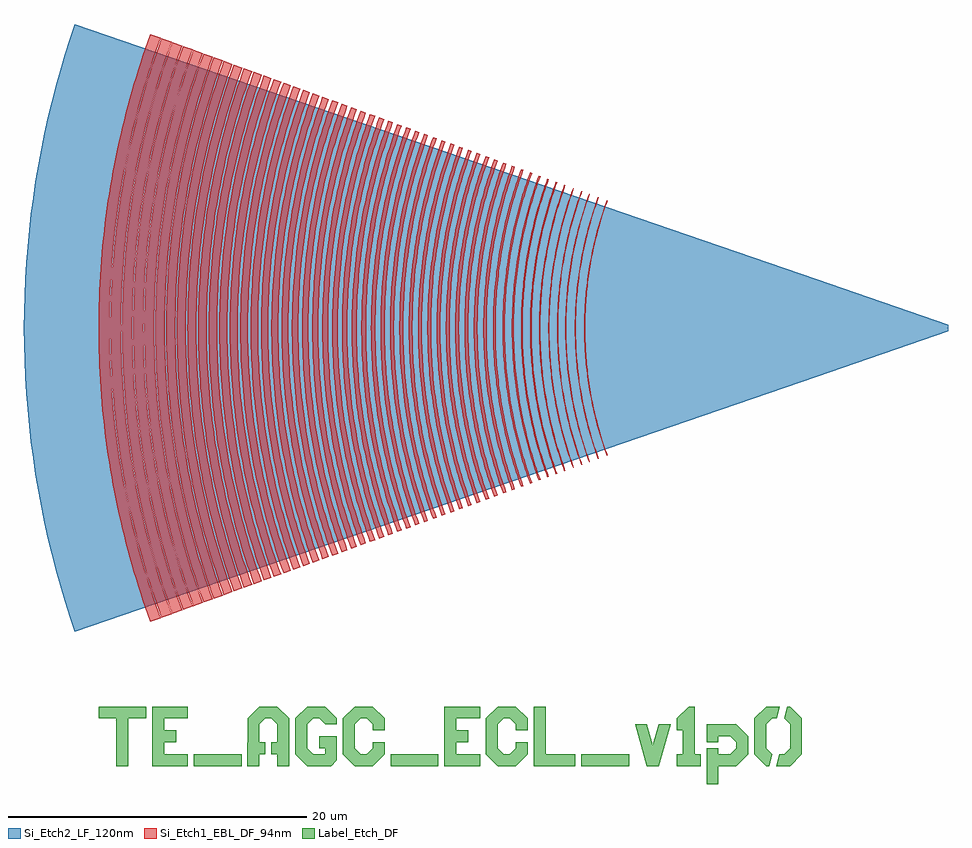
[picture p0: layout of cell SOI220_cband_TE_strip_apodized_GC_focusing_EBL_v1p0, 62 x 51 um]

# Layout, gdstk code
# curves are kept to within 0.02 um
import gdstk
lib = gdstk.Library(unit=1e-6, precision=1e-09)
def R(c, l, rs):  # rectangles x0, y0, x1, y1
    for r in rs: c.add(gdstk.rectangle(r[:2], r[2:], *l))
def P(c, l, *ps):  # polygons
    for p in ps: c.add(gdstk.Polygon(p, *l))
Si_Etch2_LF_120nm = (3, 0)
Si_Etch1_EBL_DF_94nm = (60, 0)
Label_Etch_DF = (100, 0)

text_gdsfactorypcomponen = lib.new_cell('text_gdsfactorypcomponentsptextsptext_TTE_AGC_ECL_v1p0__3f028528')
R(text_gdsfactorypcomponen, Label_Etch_DF, [(6.8,0,10,0.8), (20,0,23.2,0.8), (32.8,0,36,0.8)])
P(text_gdsfactorypcomponen, Label_Etch_DF, [(37.2,0),(36.4,2.8),(37.2,2.8),(37.6,1.4),(38,2.8),(38.8,2.8),(38,0)],
  [(41.2,-1.2),(41.2,1.2),(42,1.2),(42,0.8),(42.8,0.8),(43.2,1.2),(43.2,1.6),(42.8,2),(42,2),(42,1.6),(41.2,1.6),(41.2,2.8),(43.2,2.8),(44,2),(44,0.8),(43.2,0),(42,0),(42,-1.2)],
  [(1.6,0),(1.6,3.2),(0.4,3.2),(0.4,4),(3.6,4),(3.6,3.2),(2.4,3.2),(2.4,0)],
  [(4,0),(4,4),(6.4,4),(6.4,3.2),(4.8,3.2),(4.8,2.4),(5.6,2.4),(5.6,1.6),(4.8,1.6),(4.8,0.8),(6.4,0.8),(6.4,0)],
  [(10.396,0),(10.4,3.2),(11.2,4),(12.404,4),(13.2,3.2),(13.2,0),(12.404,0),(12.404,0.8),(12,0.8),(12,1.6),(12.404,1.6),(12.404,2.8),(12,3.2),(11.6,3.2),(11.2,2.8),(11.2,1.6),(11.6,1.6),(11.6,0.8),(11.2,0.8),(11.2,0)],
  [(14.4,0),(13.6,0.8),(13.6,3.2),(14.4,4),(15.6,4),(16.4,3.2),(16.4,2.8),(15.6,2.8),(15.2,3.2),(14.8,3.2),(14.4,2.8),(14.4,1.2),(14.8,0.8),(15.6,0.8),(15.6,1.2),(15.2,1.2),(15.2,2),(16.4,2),(16.4,0.4),(16,0)],
  [(17.6,0),(16.8,0.8),(16.8,3.2),(17.6,4),(18.8,4),(19.6,3.2),(19.6,2.4),(18.8,2.4),(18.8,2.8),(18.4,3.2),(18,3.2),(17.6,2.8),(17.6,1.2),(18,0.8),(18.4,0.8),(18.8,1.2),(18.8,1.6),(19.6,1.6),(19.6,0.8),(18.8,0)],
  [(23.6,0),(23.6,4),(26,4),(26,3.2),(24.4,3.2),(24.4,2.4),(25.2,2.4),(25.2,1.6),(24.4,1.6),(24.4,0.8),(26,0.8),(26,0)],
  [(27.2,0),(26.4,0.8),(26.4,3.2),(27.2,4),(28.4,4),(29.2,3.2),(29.2,2.4),(28.4,2.4),(28.4,2.8),(28,3.2),(27.6,3.2),(27.2,2.8),(27.2,1.2),(27.6,0.8),(28,0.8),(28.4,1.2),(28.4,1.6),(29.2,1.6),(29.2,0.8),(28.4,0)],
  [(29.6,0),(29.6,4),(30.4,4),(30.4,0.8),(32.4,0.8),(32.4,0)],
  [(39.2,0),(39.2,0.8),(39.6,0.8),(39.6,2.4),(39.2,2.4),(39.2,3.2),(40,4),(40.4,4),(40.4,0.8),(40.8,0.8),(40.8,0)],
  [(45.2,0),(44.4,0.8),(44.4,3.2),(45.2,4),(46.12,4),(45.92,3.2),(45.6,3.2),(45.2,2.8),(45.2,1.2),(45.6,0.8),(45.4,0)],
  [(45.88,0),(46.08,0.8),(46.4,0.8),(46.8,1.2),(46.8,2.8),(46.4,3.2),(46.6,4),(46.8,4),(47.6,3.2),(47.6,0.8),(46.8,0)])

soi220_cband_te_strip_ap = lib.new_cell('SOI220_cband_TE_strip_apodized_GC_focusing_EBL_v1p0')
P(soi220_cband_te_strip_ap, Si_Etch2_LF_120nm, [(-58.588,-20.398),(-59.574,-17.27),(-60.14,-15.157),(-60.85,-11.955),(-61.23,-9.801),(-61.534,-7.636),(-61.763,-5.461),(-61.963,-2.187),(-62.001,0),(-61.963,2.187),(-61.763,5.461),(-61.534,7.636),(-61.23,9.801),(-60.85,11.955),(-60.14,15.157),(-59.574,17.27),(-58.588,20.398),(0,0.225),(0,-0.225)])
P(soi220_cband_te_strip_ap, Si_Etch1_EBL_DF_94nm, [(-22.895,-8.571),(-23.042,-8.159),(-23.247,-7.536),(-23.437,-6.908),(-23.553,-6.486),(-23.813,-5.424),(-23.947,-4.781),(-24.026,-4.351),(-24.131,-3.704),(-24.221,-3.054),(-24.312,-2.184),(-24.383,-1.093),(-24.407,0),(-24.383,1.093),(-24.312,2.184),(-24.221,3.054),(-24.131,3.704),(-24.026,4.351),(-23.947,4.781),(-23.813,5.424),(-23.553,6.486),(-23.437,6.908),(-23.247,7.536),(-23.042,8.159),(-22.895,8.571),(-22.839,8.551),(-23.055,7.933),(-23.255,7.309),(-23.438,6.681),(-23.604,6.048),(-23.801,5.198),(-24.004,4.126),(-24.161,3.047),(-24.252,2.179),(-24.323,1.09),(-24.347,0),(-24.323,-1.09),(-24.252,-2.179),(-24.161,-3.047),(-24.004,-4.126),(-23.801,-5.198),(-23.604,-6.048),(-23.438,-6.681),(-23.255,-7.309),(-23.055,-7.933),(-22.839,-8.551)],
  [(-23.487,-8.786),(-23.638,-8.364),(-23.848,-7.725),(-23.98,-7.296),(-24.162,-6.65),(-24.428,-5.56),(-24.647,-4.461),(-24.817,-3.353),(-24.897,-2.685),(-24.939,-2.239),(-24.975,-1.792),(-25.013,-1.121),(-25.037,0),(-25.013,1.121),(-24.975,1.792),(-24.939,2.239),(-24.897,2.685),(-24.817,3.353),(-24.647,4.461),(-24.428,5.56),(-24.162,6.65),(-23.98,7.296),(-23.848,7.725),(-23.638,8.364),(-23.487,8.786),(-23.431,8.766),(-23.653,8.133),(-23.791,7.707),(-23.984,7.065),(-24.161,6.417),(-24.417,5.329),(-24.588,4.451),(-24.758,3.345),(-24.837,2.679),(-24.879,2.234),(-24.915,1.788),(-24.953,1.118),(-24.977,0),(-24.953,-1.118),(-24.915,-1.788),(-24.879,-2.234),(-24.837,-2.679),(-24.758,-3.345),(-24.588,-4.451),(-24.417,-5.329),(-24.161,-6.417),(-23.984,-7.065),(-23.791,-7.707),(-23.653,-8.133),(-23.431,-8.766)],
  [(-24.089,-9.005),(-24.316,-8.354),(-24.457,-7.917),(-24.592,-7.478),(-24.779,-6.814),(-24.894,-6.37),(-25.052,-5.699),(-25.148,-5.249),(-25.276,-4.572),(-25.352,-4.118),(-25.45,-3.437),(-25.507,-2.981),(-25.576,-2.294),(-25.627,-1.608),(-25.651,-1.149),(-25.667,-0.69),(-25.676,0),(-25.667,0.69),(-25.651,1.149),(-25.627,1.608),(-25.576,2.294),(-25.507,2.981),(-25.45,3.437),(-25.352,4.118),(-25.276,4.572),(-25.148,5.249),(-25.052,5.699),(-24.894,6.37),(-24.779,6.814),(-24.592,7.478),(-24.457,7.917),(-24.316,8.354),(-24.089,9.005),(-24.032,8.985),(-24.259,8.335),(-24.468,7.68),(-24.661,7.02),(-24.836,6.355),(-25.089,5.237),(-25.256,4.336),(-25.42,3.201),(-25.472,2.746),(-25.535,2.061),(-25.591,1.146),(-25.607,0.688),(-25.616,0),(-25.6,-0.917),(-25.567,-1.604),(-25.535,-2.061),(-25.495,-2.518),(-25.42,-3.201),(-25.256,-4.336),(-25.089,-5.237),(-24.836,-6.355),(-24.661,-7.02),(-24.468,-7.68),(-24.259,-8.335),(-24.032,-8.985)],
  [(-24.603,-9.192),(-24.76,-8.75),(-24.98,-8.082),(-25.118,-7.633),(-25.308,-6.956),(-25.587,-5.817),(-25.685,-5.358),(-25.816,-4.667),(-25.994,-3.508),(-26.052,-3.043),(-26.122,-2.342),(-26.159,-1.875),(-26.198,-1.173),(-26.215,-0.704),(-26.224,0),(-26.215,0.704),(-26.198,1.173),(-26.159,1.875),(-26.122,2.342),(-26.052,3.043),(-25.994,3.508),(-25.816,4.667),(-25.685,5.358),(-25.587,5.817),(-25.308,6.956),(-25.118,7.633),(-24.98,8.082),(-24.76,8.75),(-24.603,9.192),(-24.547,9.172),(-24.703,8.731),(-24.923,8.064),(-25.125,7.392),(-25.31,6.714),(-25.477,6.033),(-25.578,5.576),(-25.757,4.657),(-25.935,3.5),(-25.992,3.036),(-26.062,2.337),(-26.099,1.871),(-26.138,1.17),(-26.155,0.702),(-26.164,0),(-26.155,-0.702),(-26.138,-1.17),(-26.099,-1.871),(-26.062,-2.337),(-25.992,-3.036),(-25.935,-3.5),(-25.757,-4.657),(-25.578,-5.576),(-25.477,-6.033),(-25.31,-6.714),(-25.125,-7.392),(-24.923,-8.064),(-24.703,-8.731),(-24.547,-9.172)],
  [(-25.153,-9.392),(-25.314,-8.942),(-25.539,-8.258),(-25.68,-7.8),(-25.874,-7.108),(-25.994,-6.644),(-26.159,-5.944),(-26.306,-5.24),(-26.393,-4.768),(-26.472,-4.296),(-26.575,-3.585),(-26.634,-3.109),(-26.706,-2.393),(-26.759,-1.677),(-26.784,-1.198),(-26.801,-0.719),(-26.81,0),(-26.801,0.719),(-26.784,1.198),(-26.759,1.677),(-26.706,2.393),(-26.634,3.109),(-26.575,3.585),(-26.472,4.296),(-26.393,4.768),(-26.306,5.24),(-26.159,5.944),(-25.994,6.644),(-25.874,7.108),(-25.68,7.8),(-25.539,8.258),(-25.314,8.942),(-25.153,9.392),(-25.097,9.372),(-25.334,8.695),(-25.553,8.012),(-25.753,7.323),(-25.936,6.629),(-26.048,6.164),(-26.2,5.463),(-26.374,4.523),(-26.449,4.05),(-26.546,3.34),(-26.666,2.15),(-26.724,1.195),(-26.741,0.717),(-26.75,0),(-26.741,-0.717),(-26.724,-1.195),(-26.666,-2.15),(-26.546,-3.34),(-26.449,-4.05),(-26.374,-4.523),(-26.2,-5.463),(-26.048,-6.164),(-25.936,-6.629),(-25.753,-7.323),(-25.553,-8.012),(-25.334,-8.695),(-25.097,-9.372)],
  [(-25.741,-9.606),(-26.134,-8.446),(-26.477,-7.27),(-26.768,-6.079),(-27.007,-4.877),(-27.193,-3.666),(-27.281,-2.936),(-27.327,-2.448),(-27.407,-1.225),(-27.434,0),(-27.407,1.225),(-27.327,2.448),(-27.281,2.936),(-27.193,3.666),(-27.007,4.877),(-26.768,6.079),(-26.477,7.27),(-26.134,8.446),(-25.741,9.606),(-25.669,9.58),(-25.91,8.888),(-26.134,8.19),(-26.339,7.486),(-26.526,6.776),(-26.796,5.584),(-26.974,4.623),(-27.149,3.414),(-27.272,2.198),(-27.341,0.978),(-27.358,0),(-27.341,-0.978),(-27.272,-2.198),(-27.149,-3.414),(-26.974,-4.623),(-26.796,-5.584),(-26.526,-6.776),(-26.339,-7.486),(-26.134,-8.19),(-25.91,-8.888),(-25.669,-9.58)],
  [(-26.311,-9.814),(-26.714,-8.629),(-27.064,-7.427),(-27.362,-6.211),(-27.607,-4.983),(-27.796,-3.745),(-27.933,-2.501),(-28.015,-1.252),(-28.042,0),(-28.015,1.252),(-27.933,2.501),(-27.796,3.745),(-27.607,4.983),(-27.362,6.211),(-27.064,7.427),(-26.714,8.629),(-26.311,9.814),(-26.222,9.782),(-26.469,9.075),(-26.697,8.362),(-27.036,7.161),(-27.322,5.946),(-27.555,4.72),(-27.734,3.485),(-27.859,2.244),(-27.93,0.998),(-27.947,0),(-27.93,-0.998),(-27.859,-2.244),(-27.734,-3.485),(-27.555,-4.72),(-27.322,-5.946),(-27.036,-7.161),(-26.697,-8.362),(-26.469,-9.075),(-26.222,-9.782)],
  [(-26.884,-10.022),(-27.137,-9.299),(-27.37,-8.568),(-27.718,-7.337),(-28.011,-6.092),(-28.25,-4.837),(-28.4,-3.824),(-28.54,-2.554),(-28.623,-1.278),(-28.651,0),(-28.623,1.278),(-28.54,2.554),(-28.4,3.824),(-28.25,4.837),(-28.011,6.092),(-27.718,7.337),(-27.37,8.568),(-27.137,9.299),(-26.884,10.022),(-26.787,9.987),(-27.196,8.781),(-27.553,7.558),(-27.856,6.32),(-28.148,4.82),(-28.298,3.811),(-28.437,2.545),(-28.52,1.274),(-28.548,0),(-28.52,-1.274),(-28.437,-2.545),(-28.298,-3.811),(-28.148,-4.82),(-27.856,-6.32),(-27.553,-7.558),(-27.196,-8.781),(-26.787,-9.987)],
  [(-27.459,-10.231),(-27.878,-8.996),(-28.244,-7.743),(-28.554,-6.475),(-28.808,-5.194),(-29.007,-3.905),(-29.15,-2.608),(-29.235,-1.305),(-29.263,0),(-29.235,1.305),(-29.15,2.608),(-29.007,3.905),(-28.808,5.194),(-28.554,6.475),(-28.244,7.743),(-27.878,8.996),(-27.459,10.231),(-27.342,10.189),(-27.76,8.959),(-28.124,7.711),(-28.433,6.448),(-28.73,4.917),(-28.917,3.631),(-29.026,2.597),(-29.111,1.3),(-29.139,0),(-29.111,-1.3),(-29.026,-2.597),(-28.917,-3.631),(-28.73,-4.917),(-28.433,-6.448),(-28.124,-7.711),(-27.76,-8.959),(-27.342,-10.189)],
  [(-28.044,-10.445),(-28.472,-9.183),(-28.845,-7.904),(-29.163,-6.61),(-29.422,-5.303),(-29.625,-3.986),(-29.769,-2.661),(-29.857,-1.332),(-29.886,0),(-29.857,1.332),(-29.769,2.661),(-29.625,3.986),(-29.422,5.303),(-29.163,6.61),(-28.845,7.904),(-28.472,9.183),(-28.044,10.445),(-27.909,10.396),(-28.414,8.887),(-28.774,7.61),(-29.132,6.06),(-29.368,4.755),(-29.547,3.441),(-29.648,2.385),(-29.713,1.326),(-29.742,0),(-29.713,-1.326),(-29.648,-2.385),(-29.547,-3.441),(-29.368,-4.755),(-29.132,-6.06),(-28.774,-7.61),(-28.414,-8.887),(-27.909,-10.396)],
  [(-28.648,-10.663),(-29.085,-9.377),(-29.465,-8.07),(-29.789,-6.748),(-30.054,-5.414),(-30.262,-4.07),(-30.409,-2.718),(-30.498,-1.36),(-30.528,0),(-30.498,1.36),(-30.409,2.718),(-30.262,4.07),(-30.054,5.414),(-29.789,6.748),(-29.465,8.07),(-29.085,9.377),(-28.648,10.663),(-28.49,10.607),(-28.925,9.326),(-29.372,7.765),(-29.682,6.448),(-29.978,4.852),(-30.161,3.511),(-30.264,2.433),(-30.341,1.082),(-30.36,0),(-30.341,-1.082),(-30.264,-2.433),(-30.161,-3.511),(-29.978,-4.852),(-29.682,-6.448),(-29.372,-7.765),(-28.925,-9.326),(-28.49,-10.607)],
  [(-29.258,-10.886),(-29.704,-9.571),(-30.093,-8.238),(-30.423,-6.889),(-30.694,-5.527),(-30.905,-4.155),(-31.056,-2.775),(-31.147,-1.388),(-31.177,0),(-31.147,1.388),(-31.056,2.775),(-30.905,4.155),(-30.694,5.527),(-30.423,6.889),(-30.093,8.238),(-29.704,9.571),(-29.258,10.886),(-29.057,10.814),(-29.501,9.507),(-29.957,7.916),(-30.273,6.574),(-30.575,4.946),(-30.761,3.579),(-30.867,2.481),(-30.945,1.103),(-30.964,0),(-30.945,-1.103),(-30.867,-2.481),(-30.761,-3.579),(-30.575,-4.946),(-30.273,-6.574),(-29.957,-7.916),(-29.501,-9.507),(-29.057,-10.814)],
  [(-29.855,-11.103),(-30.31,-9.762),(-30.706,-8.402),(-31.042,-7.027),(-31.318,-5.638),(-31.534,-4.238),(-31.688,-2.83),(-31.781,-1.416),(-31.812,0),(-31.781,1.416),(-31.688,2.83),(-31.534,4.238),(-31.318,5.638),(-31.042,7.027),(-30.706,8.402),(-30.31,9.762),(-29.855,11.103),(-29.629,11.022),(-30.081,9.69),(-30.546,8.068),(-30.925,6.425),(-31.218,4.763),(-31.365,3.648),(-31.494,2.248),(-31.572,0),(-31.494,-2.248),(-31.365,-3.648),(-31.218,-4.763),(-30.925,-6.425),(-30.546,-8.068),(-30.081,-9.69),(-29.629,-11.022)],
  [(-30.442,-11.317),(-30.907,-9.95),(-31.311,-8.565),(-31.653,-7.162),(-31.935,-5.746),(-32.155,-4.319),(-32.312,-2.885),(-32.407,-1.444),(-32.438,0),(-32.407,1.444),(-32.312,2.885),(-32.155,4.319),(-31.935,5.746),(-31.653,7.162),(-31.311,8.565),(-30.907,9.95),(-30.442,11.317),(-30.21,11.233),(-30.756,9.603),(-31.145,8.223),(-31.532,6.548),(-31.787,5.138),(-31.98,3.718),(-32.09,2.577),(-32.16,1.433),(-32.191,0),(-32.16,-1.433),(-32.09,-2.577),(-31.98,-3.718),(-31.787,-5.138),(-31.532,-6.548),(-31.145,-8.223),(-30.756,-9.603),(-30.21,-11.233)],
  [(-31.034,-11.531),(-31.506,-10.14),(-31.918,-8.728),(-32.268,-7.298),(-32.555,-5.855),(-32.779,-4.402),(-32.939,-2.939),(-33.035,-1.471),(-33.067,0),(-33.035,1.471),(-32.939,2.939),(-32.779,4.402),(-32.555,5.855),(-32.268,7.298),(-31.918,8.728),(-31.506,10.14),(-31.034,11.531),(-30.799,11.447),(-31.355,9.786),(-31.751,8.38),(-32.086,6.959),(-32.405,5.236),(-32.568,4.079),(-32.714,2.626),(-32.797,1.168),(-32.817,0),(-32.797,-1.168),(-32.714,-2.626),(-32.568,-4.079),(-32.405,-5.236),(-32.086,-6.959),(-31.751,-8.38),(-31.355,-9.786),(-30.799,-11.447)],
  [(-31.617,-11.744),(-32.098,-10.327),(-32.517,-8.887),(-32.873,-7.432),(-33.165,-5.963),(-33.393,-4.483),(-33.556,-2.993),(-33.655,-1.498),(-33.687,0),(-33.655,1.498),(-33.556,2.993),(-33.393,4.483),(-33.165,5.963),(-32.873,7.432),(-32.517,8.887),(-32.098,10.327),(-31.617,11.744),(-31.39,11.663),(-31.868,10.254),(-32.36,8.538),(-32.701,7.09),(-33.026,5.334),(-33.192,4.156),(-33.341,2.675),(-33.414,1.487),(-33.446,0),(-33.414,-1.487),(-33.341,-2.675),(-33.192,-4.156),(-33.026,-5.334),(-32.701,-7.09),(-32.36,-8.538),(-31.868,-10.254),(-31.39,-11.663)],
  [(-32.199,-11.957),(-32.689,-10.513),(-33.116,-9.048),(-33.478,-7.567),(-33.776,-6.071),(-34.008,-4.563),(-34.174,-3.047),(-34.274,-1.525),(-34.307,0),(-34.274,1.525),(-34.174,3.047),(-34.008,4.563),(-33.776,6.071),(-33.478,7.567),(-33.116,9.048),(-32.689,10.513),(-32.199,11.957),(-31.973,11.875),(-32.46,10.441),(-32.961,8.693),(-33.37,6.922),(-33.64,5.431),(-33.844,3.93),(-33.96,2.724),(-34.046,1.212),(-34.067,0),(-34.046,-1.212),(-33.96,-2.724),(-33.844,-3.93),(-33.64,-5.431),(-33.37,-6.922),(-32.961,-8.693),(-32.46,-10.441),(-31.973,-11.875)],
  [(-32.782,-12.168),(-33.28,-10.699),(-33.715,-9.209),(-34.083,-7.701),(-34.386,-6.178),(-34.623,-4.644),(-34.792,-3.101),(-34.893,-1.552),(-34.927,0),(-34.893,1.552),(-34.792,3.101),(-34.623,4.644),(-34.386,6.178),(-34.083,7.701),(-33.715,9.209),(-33.28,10.699),(-32.782,12.168),(-32.557,12.087),(-33.144,10.333),(-33.562,8.849),(-33.979,7.046),(-34.253,5.529),(-34.425,4.307),(-34.579,2.773),(-34.654,1.542),(-34.688,0),(-34.654,-1.542),(-34.579,-2.773),(-34.425,-4.307),(-34.253,-5.529),(-33.979,-7.046),(-33.562,-8.849),(-33.144,-10.333),(-32.557,-12.087)],
  [(-33.37,-12.383),(-33.879,-10.887),(-34.321,-9.371),(-34.696,-7.837),(-35.004,-6.287),(-35.244,-4.726),(-35.416,-3.156),(-35.52,-1.58),(-35.554,0),(-35.52,1.58),(-35.416,3.156),(-35.244,4.726),(-35.004,6.287),(-34.696,7.837),(-34.321,9.371),(-33.879,10.887),(-33.37,12.383),(-33.138,12.299),(-33.736,10.514),(-34.162,9.004),(-34.585,7.169),(-34.864,5.625),(-35.076,4.071),(-35.196,2.821),(-35.273,1.569),(-35.307,0),(-35.273,-1.569),(-35.196,-2.821),(-35.076,-4.071),(-34.864,-5.625),(-34.585,-7.169),(-34.162,-9.004),(-33.736,-10.514),(-33.138,-12.299)],
  [(-33.959,-12.595),(-34.475,-11.076),(-34.924,-9.533),(-35.306,-7.972),(-35.619,-6.396),(-35.864,-4.808),(-36.039,-3.21),(-36.144,-1.607),(-36.179,0),(-36.144,1.607),(-36.039,3.21),(-35.864,4.808),(-35.619,6.396),(-35.306,7.972),(-34.924,9.533),(-34.475,11.076),(-33.959,12.595),(-33.728,12.513),(-34.241,11.002),(-34.769,9.161),(-35.2,7.294),(-35.484,5.723),(-35.699,4.142),(-35.821,2.871),(-35.912,1.277),(-35.934,0),(-35.912,-1.277),(-35.821,-2.871),(-35.699,-4.142),(-35.484,-5.723),(-35.2,-7.294),(-34.769,-9.161),(-34.241,-11.002),(-33.728,-12.513)],
  [(-34.549,-12.812),(-35.074,-11.265),(-35.531,-9.695),(-35.92,-8.109),(-36.239,-6.506),(-36.488,-4.889),(-36.665,-3.265),(-36.773,-1.634),(-36.808,0),(-36.773,1.634),(-36.665,3.265),(-36.488,4.889),(-36.239,6.506),(-35.92,8.109),(-35.531,9.695),(-35.074,11.265),(-34.549,12.812),(-34.308,12.725),(-34.83,11.188),(-35.367,9.315),(-35.739,7.735),(-36.094,5.82),(-36.275,4.534),(-36.437,2.919),(-36.517,1.623),(-36.552,0),(-36.517,-1.623),(-36.437,-2.919),(-36.275,-4.534),(-36.094,-5.82),(-35.739,-7.735),(-35.367,-9.315),(-34.83,-11.188),(-34.308,-12.725)],
  [(-35.145,-13.028),(-35.678,-11.456),(-36.143,-9.859),(-36.538,-8.245),(-36.862,-6.615),(-37.115,-4.972),(-37.296,-3.32),(-37.405,-1.662),(-37.441,0),(-37.405,1.662),(-37.296,3.32),(-37.115,4.972),(-36.862,6.615),(-36.538,8.245),(-36.143,9.859),(-35.678,11.456),(-35.145,13.028),(-34.896,12.939),(-35.426,11.376),(-35.972,9.472),(-36.418,7.542),(-36.711,5.918),(-36.934,4.282),(-37.06,2.968),(-37.141,1.65),(-37.177,0),(-37.141,-1.65),(-37.06,-2.968),(-36.934,-4.282),(-36.711,-5.918),(-36.418,-7.542),(-35.972,-9.472),(-35.426,-11.376),(-34.896,-12.939)],
  [(-35.742,-13.246),(-36.285,-11.646),(-36.759,-10.024),(-37.16,-8.382),(-37.49,-6.726),(-37.747,-5.055),(-37.931,-3.375),(-38.041,-1.69),(-38.078,0),(-38.041,1.69),(-37.931,3.375),(-37.747,5.055),(-37.49,6.726),(-37.16,8.382),(-36.759,10.024),(-36.285,11.646),(-35.742,13.246),(-35.479,13.151),(-36.118,11.242),(-36.573,9.627),(-36.958,7.994),(-37.325,6.015),(-37.551,4.353),(-37.679,3.017),(-37.775,1.342),(-37.798,0),(-37.775,-1.342),(-37.679,-3.017),(-37.551,-4.353),(-37.325,-6.015),(-36.958,-7.994),(-36.573,-9.627),(-36.118,-11.242),(-35.479,-13.151)],
  [(-36.343,-13.465),(-36.895,-11.839),(-37.377,-10.19),(-37.785,-8.522),(-38.12,-6.836),(-38.381,-5.139),(-38.568,-3.432),(-38.681,-1.717),(-38.718,0),(-38.681,1.717),(-38.568,3.432),(-38.381,5.139),(-38.12,6.836),(-37.785,8.522),(-37.377,10.19),(-36.895,11.839),(-36.343,13.465),(-36.066,13.365),(-36.716,11.425),(-37.178,9.784),(-37.639,7.791),(-37.942,6.113),(-38.132,4.762),(-38.303,3.066),(-38.386,1.704),(-38.423,0),(-38.386,-1.704),(-38.303,-3.066),(-38.132,-4.762),(-37.942,-6.113),(-37.639,-7.791),(-37.178,-9.784),(-36.716,-11.425),(-36.066,-13.365)],
  [(-36.948,-13.684),(-37.508,-12.032),(-37.996,-10.356),(-38.412,-8.66),(-38.752,-6.948),(-39.017,-5.222),(-39.208,-3.487),(-39.322,-1.745),(-39.36,0),(-39.322,1.745),(-39.208,3.487),(-39.017,5.222),(-38.752,6.948),(-38.412,8.66),(-37.996,10.356),(-37.508,12.032),(-36.948,13.684),(-36.655,13.579),(-37.314,11.608),(-37.87,9.605),(-38.32,7.575),(-38.613,5.868),(-38.794,4.494),(-38.927,3.115),(-39.025,1.386),(-39.049,0),(-39.025,-1.386),(-38.927,-3.115),(-38.794,-4.494),(-38.613,-5.868),(-38.32,-7.575),(-37.87,-9.605),(-37.314,-11.608),(-36.655,-13.579)],
  [(-37.555,-13.905),(-38.124,-12.227),(-38.621,-10.523),(-39.042,-8.8),(-39.388,-7.06),(-39.658,-5.306),(-39.852,-3.544),(-39.968,-1.773),(-40.006,0),(-39.968,1.773),(-39.852,3.544),(-39.658,5.306),(-39.388,7.06),(-39.042,8.8),(-38.621,10.523),(-38.124,12.227),(-37.555,13.905),(-37.246,13.794),(-37.916,11.792),(-38.48,9.757),(-38.937,7.696),(-39.235,5.961),(-39.419,4.566),(-39.554,3.164),(-39.64,1.759),(-39.678,0),(-39.64,-1.759),(-39.554,-3.164),(-39.419,-4.566),(-39.235,-5.961),(-38.937,-7.696),(-38.48,-9.757),(-37.916,-11.792),(-37.246,-13.794)],
  [(-38.167,-14.127),(-38.745,-12.422),(-39.249,-10.692),(-39.678,-8.941),(-40.03,-7.173),(-40.304,-5.392),(-40.5,-3.6),(-40.618,-1.802),(-40.657,0),(-40.618,1.802),(-40.5,3.6),(-40.304,5.392),(-40.03,7.173),(-39.678,8.941),(-39.249,10.692),(-38.745,12.422),(-38.167,14.127),(-37.841,14.011),(-38.521,11.977),(-39.006,10.257),(-39.489,8.167),(-39.861,6.055),(-40.048,4.637),(-40.185,3.214),(-40.286,1.43),(-40.311,0),(-40.286,-1.43),(-40.185,-3.214),(-40.048,-4.637),(-39.861,-6.055),(-39.489,-8.167),(-39.006,-10.257),(-38.521,-11.977),(-37.841,-14.011)],
  [(-38.786,-14.353),(-39.373,-12.62),(-39.886,-10.862),(-40.321,-9.083),(-40.678,-7.288),(-40.957,-5.478),(-41.157,-3.658),(-41.276,-1.831),(-41.316,0),(-41.276,1.831),(-41.157,3.658),(-40.957,5.478),(-40.678,7.288),(-40.321,9.083),(-39.886,10.862),(-39.373,12.62),(-38.786,14.353),(-38.444,14.23),(-39.135,12.164),(-39.628,10.417),(-40.118,8.295),(-40.496,6.15),(-40.686,4.71),(-40.852,2.902),(-40.928,1.452),(-40.953,0),(-40.928,-1.452),(-40.852,-2.902),(-40.686,-4.71),(-40.496,-6.15),(-40.118,-8.295),(-39.628,-10.417),(-39.135,-12.164),(-38.444,-14.23)],
  [(-39.413,-14.58),(-40.009,-12.821),(-40.53,-11.035),(-40.972,-9.229),(-41.335,-7.404),(-41.619,-5.565),(-41.821,-3.717),(-41.943,-1.86),(-41.983,0),(-41.943,1.86),(-41.821,3.717),(-41.619,5.565),(-41.335,7.404),(-40.972,9.229),(-40.53,11.035),(-40.009,12.821),(-39.413,14.58),(-39.054,14.452),(-39.756,12.354),(-40.347,10.222),(-40.826,8.063),(-41.138,6.246),(-41.33,4.783),(-41.472,3.315),(-41.562,1.843),(-41.602,0),(-41.562,-1.843),(-41.472,-3.315),(-41.33,-4.783),(-41.138,-6.246),(-40.826,-8.063),(-40.347,-10.222),(-39.756,-12.354),(-39.054,-14.452)],
  [(-40.045,-14.811),(-40.652,-13.023),(-41.18,-11.209),(-41.63,-9.374),(-41.998,-7.521),(-42.286,-5.653),(-42.491,-3.775),(-42.615,-1.889),(-42.656,0),(-42.615,1.889),(-42.491,3.775),(-42.286,5.653),(-41.998,7.521),(-41.63,9.374),(-41.18,11.209),(-40.652,13.023),(-40.045,14.811),(-39.671,14.677),(-40.273,12.904),(-40.892,10.744),(-41.398,8.555),(-41.788,6.343),(-41.983,4.858),(-42.127,3.367),(-42.233,1.498),(-42.259,0),(-42.233,-1.498),(-42.127,-3.367),(-41.983,-4.858),(-41.788,-6.343),(-41.398,-8.555),(-40.892,-10.744),(-40.273,-12.904),(-39.671,-14.677)],
  [(-40.683,-15.044),(-41.3,-13.228),(-41.837,-11.385),(-42.293,-9.521),(-42.668,-7.639),(-42.959,-5.742),(-43.168,-3.835),(-43.295,-1.919),(-43.336,0),(-43.295,1.919),(-43.168,3.835),(-42.959,5.742),(-42.668,7.639),(-42.293,9.521),(-41.837,11.385),(-41.3,13.228),(-40.683,15.044),(-40.294,14.904),(-41.018,12.74),(-41.628,10.542),(-42.121,8.315),(-42.443,6.441),(-42.642,4.933),(-42.788,3.419),(-42.881,1.901),(-42.922,0),(-42.881,-1.901),(-42.788,-3.419),(-42.642,-4.933),(-42.443,-6.441),(-42.121,-8.315),(-41.628,-10.542),(-41.018,-12.74),(-40.294,-14.904)],
  [(-41.327,-15.277),(-41.952,-13.433),(-42.497,-11.562),(-42.961,-9.669),(-43.342,-7.757),(-43.637,-5.831),(-43.85,-3.894),(-43.978,-1.949),(-44.02,0),(-43.978,1.949),(-43.85,3.894),(-43.637,5.831),(-43.342,7.757),(-42.961,9.669),(-42.497,11.562),(-41.952,13.433),(-41.327,15.277),(-40.923,15.132),(-41.658,12.936),(-42.277,10.704),(-42.703,8.821),(-43.105,6.54),(-43.307,5.009),(-43.455,3.471),(-43.549,1.93),(-43.591,0),(-43.549,-1.93),(-43.455,-3.471),(-43.307,-5.009),(-43.105,-6.54),(-42.703,-8.821),(-42.277,-10.704),(-41.658,-12.936),(-40.923,-15.132)],
  [(-41.972,-15.513),(-42.607,-13.64),(-43.162,-11.74),(-43.632,-9.817),(-44.018,-7.876),(-44.319,-5.921),(-44.534,-3.954),(-44.664,-1.979),(-44.707,0),(-44.664,1.979),(-44.534,3.954),(-44.319,5.921),(-44.018,7.876),(-43.632,9.817),(-43.162,11.74),(-42.607,13.64),(-41.972,15.513),(-41.553,15.362),(-42.299,13.132),(-42.928,10.866),(-43.437,8.57),(-43.769,6.639),(-43.973,5.085),(-44.124,3.524),(-44.235,1.568),(-44.262,0),(-44.235,-1.568),(-44.124,-3.524),(-43.973,-5.085),(-43.769,-6.639),(-43.437,-8.57),(-42.928,-10.866),(-42.299,-13.132),(-41.553,-15.362)],
  [(-42.621,-15.748),(-43.266,-13.847),(-43.828,-11.919),(-44.305,-9.966),(-44.697,-7.997),(-45.003,-6.011),(-45.222,-4.013),(-45.354,-2.009),(-45.397,0),(-45.354,2.009),(-45.222,4.013),(-45.003,6.011),(-44.697,7.997),(-44.305,9.966),(-43.828,11.919),(-43.266,13.847),(-42.621,15.748),(-42.188,15.593),(-42.945,13.329),(-43.485,11.415),(-44.022,9.089),(-44.436,6.739),(-44.644,5.161),(-44.826,3.18),(-44.909,1.591),(-44.937,0),(-44.909,-1.591),(-44.826,-3.18),(-44.644,-5.161),(-44.436,-6.739),(-44.022,-9.089),(-43.485,-11.415),(-42.945,-13.329),(-42.188,-15.593)],
  [(-43.272,-15.984),(-43.927,-14.056),(-44.497,-12.098),(-44.982,-10.117),(-45.38,-8.117),(-45.69,-6.101),(-45.912,-4.073),(-46.046,-2.039),(-46.09,0),(-46.046,2.039),(-45.912,4.073),(-45.69,6.101),(-45.38,8.117),(-44.982,10.117),(-44.497,12.098),(-43.927,14.056),(-43.272,15.984),(-42.824,15.824),(-43.592,13.527),(-44.24,11.193),(-44.764,8.828),(-45.106,6.839),(-45.361,4.836),(-45.501,3.227),(-45.586,1.615),(-45.614,0),(-45.586,-1.615),(-45.501,-3.227),(-45.361,-4.836),(-45.106,-6.839),(-44.764,-8.828),(-44.24,-11.193),(-43.592,-13.527),(-42.824,-15.824)],
  [(-43.927,-16.223),(-44.591,-14.266),(-45.17,-12.278),(-45.662,-10.267),(-46.067,-8.237),(-46.381,-6.192),(-46.606,-4.135),(-46.742,-2.069),(-46.787,0),(-46.742,2.069),(-46.606,4.135),(-46.381,6.192),(-46.067,8.237),(-45.662,10.267),(-45.17,12.278),(-44.591,14.266),(-43.927,16.223),(-43.464,16.057),(-44.244,13.726),(-44.8,11.755),(-45.353,9.36),(-45.779,6.939),(-46.038,4.907),(-46.181,3.275),(-46.266,1.638),(-46.295,0),(-46.266,-1.638),(-46.181,-3.275),(-46.038,-4.907),(-45.779,-6.939),(-45.353,-9.36),(-44.8,-11.755),(-44.244,-13.726),(-43.464,-16.057)],
  [(-44.583,-16.463),(-45.257,-14.476),(-45.846,-12.459),(-46.345,-10.419),(-46.754,-8.36),(-47.075,-6.284),(-47.303,-4.195),(-47.441,-2.1),(-47.486,0),(-47.441,2.1),(-47.303,4.195),(-47.075,6.284),(-46.754,8.36),(-46.345,10.419),(-45.846,12.459),(-45.257,14.476),(-44.583,16.463),(-44.105,16.291),(-44.773,14.323),(-45.355,12.328),(-45.849,10.309),(-46.254,8.271),(-46.571,6.217),(-46.797,4.151),(-46.933,2.078),(-46.978,0),(-46.933,-2.078),(-46.797,-4.151),(-46.571,-6.217),(-46.254,-8.271),(-45.849,-10.309),(-45.355,-12.328),(-44.773,-14.323),(-44.105,-16.291)],
  [(-45.243,-16.703),(-45.928,-14.687),(-46.524,-12.641),(-47.031,-10.571),(-47.446,-8.481),(-47.771,-6.375),(-48.002,-4.256),(-48.141,-2.131),(-48.188,0),(-48.141,2.131),(-48.002,4.256),(-47.771,6.375),(-47.446,8.481),(-47.031,10.571),(-46.524,12.641),(-45.928,14.687),(-45.243,16.703),(-44.75,16.525),(-45.428,14.529),(-46.018,12.505),(-46.519,10.458),(-46.93,8.39),(-47.251,6.307),(-47.48,4.211),(-47.618,2.108),(-47.664,0),(-47.618,-2.108),(-47.48,-4.211),(-47.251,-6.307),(-46.93,-8.39),(-46.519,-10.458),(-46.018,-12.505),(-45.428,-14.529),(-44.75,-16.525)],
  [(-45.907,-16.943),(-46.601,-14.899),(-47.206,-12.824),(-47.719,-10.724),(-48.141,-8.604),(-48.47,-6.468),(-48.706,-4.318),(-48.846,-2.161),(-48.894,0),(-48.846,2.161),(-48.706,4.318),(-48.47,6.468),(-48.141,8.604),(-47.719,10.724),(-47.206,12.824),(-46.601,14.899),(-45.907,16.943),(-45.398,16.761),(-46.085,14.736),(-46.683,12.684),(-47.191,10.607),(-47.608,8.51),(-47.934,6.397),(-48.167,4.271),(-48.306,2.138),(-48.353,0),(-48.306,-2.138),(-48.167,-4.271),(-47.934,-6.397),(-47.608,-8.51),(-47.191,-10.607),(-46.683,-12.684),(-46.085,-14.736),(-45.398,-16.761)],
  [(-46.573,-17.186),(-47.277,-15.111),(-47.891,-13.007),(-48.412,-10.878),(-48.84,-8.727),(-49.173,-6.56),(-49.412,-4.38),(-49.555,-2.192),(-49.603,0),(-49.555,2.192),(-49.412,4.38),(-49.173,6.56),(-48.84,8.727),(-48.412,10.878),(-47.891,13.007),(-47.277,15.111),(-46.573,17.186),(-46.048,16.998),(-46.745,14.944),(-47.352,12.863),(-47.867,10.757),(-48.29,8.63),(-48.62,6.487),(-48.856,4.331),(-48.998,2.168),(-49.045,0),(-48.998,-2.168),(-48.856,-4.331),(-48.62,-6.487),(-48.29,-8.63),(-47.867,-10.757),(-47.352,-12.863),(-46.745,-14.944),(-46.048,-16.998)],
  [(-47.242,-17.43),(-47.956,-15.326),(-48.578,-13.192),(-49.106,-11.032),(-49.54,-8.851),(-49.879,-6.653),(-50.121,-4.442),(-50.266,-2.223),(-50.315,0),(-50.266,2.223),(-50.121,4.442),(-49.879,6.653),(-49.54,8.851),(-49.106,11.032),(-48.578,13.192),(-47.956,15.326),(-47.242,17.43),(-46.701,17.235),(-47.408,15.153),(-48.023,13.043),(-48.545,10.907),(-48.974,8.751),(-49.309,6.578),(-49.548,4.392),(-49.692,2.198),(-49.74,0),(-49.692,-2.198),(-49.548,-4.392),(-49.309,-6.578),(-48.974,-8.751),(-48.545,-10.907),(-48.023,-13.043),(-47.408,-15.153),(-46.701,-17.235)],
  [(-47.914,-17.674),(-48.637,-15.542),(-49.269,-13.376),(-49.805,-11.186),(-50.245,-8.975),(-50.588,-6.746),(-50.834,-4.505),(-50.98,-2.255),(-51.03,0),(-50.98,2.255),(-50.834,4.505),(-50.588,6.746),(-50.245,8.975),(-49.805,11.186),(-49.269,13.376),(-48.637,15.542),(-47.914,17.674),(-47.357,17.474),(-48.073,15.363),(-48.697,13.223),(-49.227,11.058),(-49.662,8.872),(-50.001,6.669),(-50.244,4.453),(-50.389,2.229),(-50.438,0),(-50.389,-2.229),(-50.244,-4.453),(-50.001,-6.669),(-49.662,-8.872),(-49.227,-11.058),(-48.697,-13.223),(-48.073,-15.363),(-47.357,-17.474)],
  [(-48.589,-17.919),(-49.323,-15.757),(-49.962,-13.563),(-50.506,-11.341),(-50.952,-9.1),(-51.3,-6.84),(-51.549,-4.567),(-51.698,-2.285),(-51.748,0),(-51.698,2.285),(-51.549,4.567),(-51.3,6.84),(-50.952,9.1),(-50.506,11.341),(-49.962,13.563),(-49.323,15.757),(-48.589,17.919),(-48.016,17.714),(-48.742,15.574),(-49.374,13.405),(-49.911,11.21),(-50.352,8.994),(-50.696,6.76),(-50.942,4.514),(-51.09,2.259),(-51.139,0),(-51.09,-2.259),(-50.942,-4.514),(-50.696,-6.76),(-50.352,-8.994),(-49.911,-11.21),(-49.374,-13.405),(-48.742,-15.574),(-48.016,-17.714)],
  [(-49.267,-18.167),(-50.011,-15.974),(-50.66,-13.749),(-51.211,-11.498),(-51.663,-9.225),(-52.016,-6.934),(-52.268,-4.63),(-52.419,-2.317),(-52.47,0),(-52.419,2.317),(-52.268,4.63),(-52.016,6.934),(-51.663,9.225),(-51.211,11.498),(-50.66,13.749),(-50.011,15.974),(-49.267,18.167),(-48.677,17.955),(-49.413,15.786),(-50.054,13.587),(-50.599,11.362),(-51.045,9.116),(-51.394,6.852),(-51.643,4.575),(-51.793,2.29),(-51.843,0),(-51.793,-2.29),(-51.643,-4.575),(-51.394,-6.852),(-51.045,-9.116),(-50.599,-11.362),(-50.054,-13.587),(-49.413,-15.786),(-48.677,-17.955)],
  [(-49.948,-18.415),(-50.703,-16.192),(-51.36,-13.937),(-51.919,-11.655),(-52.377,-9.351),(-52.735,-7.028),(-52.991,-4.693),(-53.143,-2.35),(-53.195,0),(-53.143,2.35),(-52.991,4.693),(-52.735,7.028),(-52.377,9.351),(-51.919,11.655),(-51.36,13.937),(-50.703,16.192),(-49.948,18.415),(-49.341,18.196),(-50.088,15.998),(-50.737,13.77),(-51.289,11.515),(-51.742,9.239),(-52.095,6.944),(-52.348,4.637),(-52.499,2.321),(-52.55,0),(-52.499,-2.321),(-52.348,-4.637),(-52.095,-6.944),(-51.742,-9.239),(-51.289,-11.515),(-50.737,-13.77),(-50.088,-15.998),(-49.341,-18.196)],
  [(-50.634,-18.664),(-51.398,-16.411),(-52.064,-14.126),(-52.63,-11.813),(-53.095,-9.478),(-53.457,-7.124),(-53.716,-4.757),(-53.872,-2.381),(-53.924,0),(-53.872,2.381),(-53.716,4.757),(-53.457,7.124),(-53.095,9.478),(-52.63,11.813),(-52.064,14.126),(-51.398,16.411),(-50.634,18.664),(-50.01,18.44),(-50.766,16.212),(-51.424,13.954),(-51.983,11.669),(-52.442,9.362),(-52.8,7.037),(-53.056,4.699),(-53.21,2.352),(-53.261,0),(-53.21,-2.352),(-53.056,-4.699),(-52.8,-7.037),(-52.442,-9.362),(-51.983,-11.669),(-51.424,-13.954),(-50.766,-16.212),(-50.01,-18.44)],
  [(-51.33,-18.917),(-52.104,-16.635),(-52.78,-14.317),(-53.354,-11.973),(-53.825,-9.607),(-54.192,-7.221),(-54.454,-4.822),(-54.612,-2.413),(-54.665,0),(-54.612,2.413),(-54.454,4.822),(-54.192,7.221),(-53.825,9.607),(-53.354,11.973),(-52.78,14.317),(-52.104,16.635),(-51.33,18.917),(-50.689,18.687),(-51.455,16.43),(-52.122,14.141),(-52.689,11.826),(-53.154,9.488),(-53.517,7.132),(-53.776,4.762),(-53.932,2.383),(-53.984,0),(-53.932,-2.383),(-53.776,-4.762),(-53.517,-7.132),(-53.154,-9.488),(-52.689,-11.826),(-52.122,-14.141),(-51.455,-16.43),(-50.689,-18.687)],
  [(-52.043,-19.178),(-52.83,-16.862),(-53.514,-14.514),(-54.095,-12.137),(-54.573,-9.738),(-54.945,-7.319),(-55.211,-4.888),(-55.371,-2.446),(-55.425,0),(-55.371,2.446),(-55.211,4.888),(-54.945,7.319),(-54.573,9.738),(-54.095,12.137),(-53.514,14.514),(-52.83,16.862),(-52.043,19.178),(-51.385,18.94),(-52.162,16.652),(-52.838,14.333),(-53.412,11.986),(-53.884,9.616),(-54.251,7.228),(-54.514,4.827),(-54.672,2.416),(-54.725,0),(-54.672,-2.416),(-54.514,-4.827),(-54.251,-7.228),(-53.884,-9.616),(-53.412,-11.986),(-52.838,-14.333),(-52.162,-16.652),(-51.385,-18.94)],
  [(-52.775,-19.443),(-53.572,-17.097),(-54.265,-14.716),(-54.855,-12.305),(-55.339,-9.873),(-55.717,-7.421),(-55.986,-4.955),(-56.149,-2.481),(-56.203,0),(-56.149,2.481),(-55.986,4.955),(-55.717,7.421),(-55.339,9.873),(-54.855,12.305),(-54.265,14.716),(-53.572,17.097),(-52.775,19.443),(-52.099,19.2),(-52.887,16.881),(-53.572,14.53),(-54.154,12.15),(-54.632,9.748),(-55.005,7.327),(-55.271,4.893),(-55.432,2.449),(-55.485,0),(-55.432,-2.449),(-55.271,-4.893),(-55.005,-7.327),(-54.632,-9.748),(-54.154,-12.15),(-53.572,-14.53),(-52.887,-16.881),(-52.099,-19.2)],
  [(-53.526,-19.714),(-54.333,-17.337),(-55.037,-14.922),(-55.634,-12.479),(-56.125,-10.011),(-56.508,-7.526),(-56.781,-5.026),(-56.946,-2.515),(-57.001,0),(-56.946,2.515),(-56.781,5.026),(-56.508,7.526),(-56.125,10.011),(-55.634,12.479),(-55.037,14.922),(-54.333,17.337),(-53.526,19.714),(-52.831,19.466),(-53.629,17.115),(-54.324,14.731),(-54.914,12.319),(-55.398,9.883),(-55.776,7.429),(-56.046,4.961),(-56.209,2.483),(-56.263,0),(-56.209,-2.483),(-56.046,-4.961),(-55.776,-7.429),(-55.398,-9.883),(-54.914,-12.319),(-54.324,-14.731),(-53.629,-17.115),(-52.831,-19.466)])
soi220_cband_te_strip_ap.add(gdstk.Reference(text_gdsfactorypcomponen, (-57.401,-29.398)))

lib.write_gds('SOI220_cband_TE_strip_apodized_GC_focusing_EBL_v1p0.gds')
